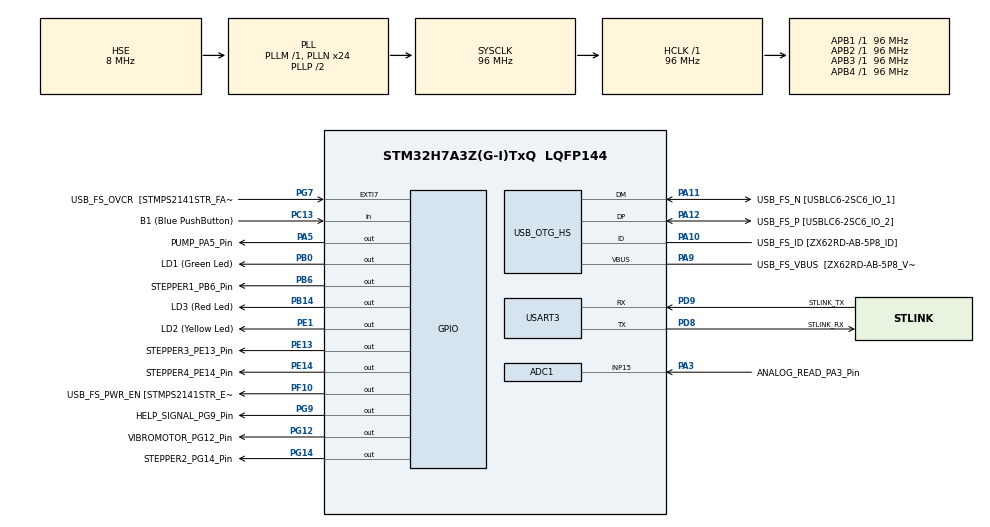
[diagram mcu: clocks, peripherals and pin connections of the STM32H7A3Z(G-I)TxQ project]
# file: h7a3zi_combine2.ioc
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ADC1.Channel-0\#ChannelRegularConversion=ADC_CHANNEL_15
ADC1.NbrOfConversionFlag=1
ADC1.OffsetNumber-0\#ChannelRegularConversion=ADC_OFFSET_NONE
ADC1.OffsetSignedSaturation-0\#ChannelRegularConversion=DISABLE
ADC1.Rank-0\#ChannelRegularConversion=1
ADC1.SamplingTime-0\#ChannelRegularConversion=ADC_SAMPLETIME_1CYCLE_5
ADC1.master=1
Mcu.Family=STM32H7
Mcu.Name=STM32H7A3Z(G-I)TxQ
Mcu.Package=LQFP144
NVIC.PriorityGroup=NVIC_PRIORITYGROUP_4
NVIC.TIM17_IRQn=true\:0\:0\:false\:false\:true\:true\:true\:true
PA0.Signal=ADC1_INP16
PA10.GPIO_Label=USB_FS_ID [ZX62RD-AB-5P8_ID]
PA10.Mode=OTG/Dual-Role-Device-FS
PA10.Signal=USB_OTG_HS_ID
PA11.GPIO_Label=USB_FS_N [USBLC6-2SC6_IO_1]
PA11.Mode=OTG/Dual-Role-Device-FS
PA11.Signal=USB_OTG_HS_DM
PA12.GPIO_Label=USB_FS_P [USBLC6-2SC6_IO_2]
PA12.Mode=OTG/Dual-Role-Device-FS
PA12.Signal=USB_OTG_HS_DP
PA3.GPIO_Label=ANALOG_READ_PA3_Pin
PA3.Mode=IN15-Single-Ended
PA3.Signal=ADC1_INP15
PA5.GPIO_Label=PUMP_PA5_Pin
PA5.Signal=GPIO_Output
PA9.GPIO_Label=USB_FS_VBUS  [ZX62RD-AB-5P8_VBUS]
PA9.Mode=Activate_VBUS_FS
PA9.Signal=USB_OTG_HS_VBUS
PB0.GPIO_Label=LD1 (Green Led)
PB0.Signal=GPIO_Output
PB14.GPIO_Label=LD3 (Red Led)
PB14.Signal=GPIO_Output
PB6.GPIO_Label=STEPPER1_PB6_Pin
PB6.Signal=GPIO_Output
PC13.GPIO_Label=B1 (Blue PushButton)
PC13.Signal=GPIO_Input
PC14-OSC32_IN.GPIO_Label=OSC32_IN
PC14-OSC32_IN.Mode=LSE-External-Oscillator
PC14-OSC32_IN.Signal=RCC_OSC32_IN
PC15-OSC32_OUT.GPIO_Label=OSC32_OUT
PC15-OSC32_OUT.Mode=LSE-External-Oscillator
PC15-OSC32_OUT.Signal=RCC_OSC32_OUT
PD8.GPIO_Label=STLINK_RX
PD8.Mode=Asynchronous
PD8.Signal=USART3_TX
PD9.GPIO_Label=STLINK_TX
PD9.Mode=Asynchronous
PD9.Signal=USART3_RX
PE1.GPIO_Label=LD2 (Yellow Led)
PE1.Signal=GPIO_Output
PE13.GPIO_Label=STEPPER3_PE13_Pin
PE13.Signal=GPIO_Output
PE14.GPIO_Label=STEPPER4_PE14_Pin
PE14.Signal=GPIO_Output
PF10.GPIO_Label=USB_FS_PWR_EN [STMPS2141STR_EN]
PF10.Signal=GPIO_Output
PG12.GPIO_Label=VIBROMOTOR_PG12_Pin
PG12.Signal=GPIO_Output
PG14.GPIO_Label=STEPPER2_PG14_Pin
PG14.Signal=GPIO_Output
PG7.GPIO_Label=USB_FS_OVCR  [STMPS2141STR_FAULT]
PG7.Signal=GPXTI7
PG9.GPIO_Label=HELP_SIGNAL_PG9_Pin
PG9.Signal=GPIO_Output
PH0-OSC_IN.GPIO_Label=PH0-MCU
PH0-OSC_IN.Mode=HSE-External-Clock-Source
PH0-OSC_IN.Signal=RCC_OSC_IN
PH1-OSC_OUT.GPIO_Label=PH1-MCU
PH1-OSC_OUT.Signal=RCC_OSC_OUT
ProjectManager.HeapSize=0x200
ProjectManager.StackSize=0x400
ProjectManager.TargetToolchain=STM32CubeIDE
RCC.ADCFreq_Value=32000000
RCC.APB1Freq_Value=96000000
RCC.APB2Freq_Value=96000000
RCC.APB3Freq_Value=96000000
RCC.APB4Freq_Value=96000000
RCC.CortexFreq_Value=96000000
RCC.DIVM1=1
RCC.DIVM2=1
RCC.DIVM3=1
RCC.DIVN1=24
RCC.DIVN2=16
RCC.DIVN3=24
RCC.DIVP2=4
RCC.DIVQ1=4
RCC.HCLKFreq_Value=96000000
RCC.HSE_VALUE=8000000
RCC.PLLFRACN=0
RCC.PLLSourceVirtual=RCC_PLLSOURCE_HSE
RCC.PWR_Regulator_Voltage_Scale=PWR_REGULATOR_VOLTAGE_SCALE0
RCC.SYSCLKFreq_VALUE=96000000
RCC.SYSCLKSource=RCC_SYSCLKSOURCE_PLLCLK
RCC.SupplySource=PWR_DIRECT_SMPS_SUPPLY
RCC.USBCLockSelection=RCC_USBCLKSOURCE_HSI48
RCC.USBFreq_Value=48000000
TIM16.Period=20000-1
TIM16.Prescaler=9600-1
USART3.VirtualMode-Asynchronous=VM_ASYNC
VP_TIM16_VS_ClockSourceINT.Mode=Enable_Timer
VP_TIM17_VS_ClockSourceINT.Mode=Enable_Timer
board=NUCLEO-H7A3ZI-Q

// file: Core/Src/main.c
/* USER CODE BEGIN Header */
/**
 ******************************************************************************
 * @file           : main.c
 * @brief          : Main program body
 ******************************************************************************
 * @attention
 *
 * Copyright (c) 2022 STMicroelectronics.
 * All rights reserved.
 *
 * This software is licensed under terms that can be found in the LICENSE file
 * in the root directory of this software component.
 * If no LICENSE file comes with this software, it is provided AS-IS.
 *
 ******************************************************************************
 */
/* USER CODE END Header */
#include "main.h"

/* USER CODE BEGIN Includes */
#include "../../ECUAL/STEPPER/STEPPER.h"
#include <stdbool.h>
#include <stdio.h>
#include <string.h>
/* USER CODE END Includes */

/* USER CODE BEGIN PTD */
struct MeasureData {
  uint16_t signal[100000];
  int t_vibr_start;
  int t_end;
  int pulses;
  int htime;
  bool bad;
} Meas;
/* USER CODE END PTD */

/* USER CODE BEGIN PD */
#define STEPPER_MOTOR1 0
/* USER CODE END PD */

ADC_HandleTypeDef hadc1;

TIM_HandleTypeDef htim16;
TIM_HandleTypeDef htim17;

UART_HandleTypeDef huart3;

/* USER CODE BEGIN PV */
const int PI = 1048;
const int SENSITIVITY = 5;
// 50 char buffer to store our message
char uart_buf[50];
int uart_buf_len;

/* USER CODE END PV */

void SystemClock_Config(void);
static void MX_GPIO_Init(void);
static void MX_USART3_UART_Init(void);
static void MX_USB_OTG_HS_USB_Init(void);
static void MX_ADC1_Init(void);
static void MX_TIM16_Init(void);
static void MX_TIM17_Init(void);
/* USER CODE BEGIN PFP */
void measure(struct MeasureData *);
void analyse(struct MeasureData *);
void uart_transmit_analog(void);
void uart_transmit_digital(void);
void uart_transmit_info(void);

/* USER CODE END PFP */

int main(void)
{

  /* MCU Configuration--------------------------------------------------------*/

  /* Reset of all peripherals, Initializes the Flash interface and the Systick. */
  HAL_Init();

  /* USER CODE BEGIN Init */
  // HAL_GPIO_WritePin(GPIOG, GPIO_PIN_9, GPIO_PIN_RESET);

  /* USER CODE END Init */

  /* Configure the system clock */
  SystemClock_Config();

  /* Initialize all configured peripherals */
  MX_GPIO_Init();
  MX_USART3_UART_Init();
  MX_USB_OTG_HS_USB_Init();
  MX_ADC1_Init();
  MX_TIM16_Init();
  MX_TIM17_Init();
  /* USER CODE BEGIN 2 */

  /* __STEPPER CONTROL BLOCK BEGIN__ */

  /* see also STEPPER_cfg.h */
  //  STEPPERS_Init_TMR(&htim17);
  // nötig für init look also ISR CODE BEGIN 4
  //  STEPPER_SetSpeed(STEPPER_MOTOR1, 12);
  // set RPM STEPPER_Step_NonBlocking(STEPPER_MOTOR1, 1048, DIR_CCW);
  // drive motor, steps, direction(immer verkehrt k.a. warum)

  /* __STEPPER CONTROL BLOCK END__ */

  /* test area */
  //  don't forget to init timer16 for counting 1 sec and timer17 with ISR for
  //  Stepper

  /////////////////START/////////////////////////

  // stepper init
  // STEPPERS_Init_TMR(&htim17); // nötig für init look also ISR CODE BEGIN 4
  // STEPPER_SetSpeed(STEPPER_MOTOR1, 14); // set RPM

  // pump on
  // HAL_GPIO_WritePin(GPIOA, GPIO_PIN_5, GPIO_PIN_SET);
  // HAL_Delay(3000);
  //
  // HAL_GPIO_WritePin(GPIOG, GPIO_PIN_12, GPIO_PIN_SET);
  // HAL_Delay(100);
  // HAL_GPIO_WritePin(GPIOG, GPIO_PIN_12, GPIO_PIN_RESET);

  for (int m = 0; m < 10; m++) {
  // pump on
    HAL_GPIO_WritePin(GPIOA, GPIO_PIN_5, GPIO_PIN_SET);
    HAL_Delay(4000);
    uart_buf_len = sprintf(uart_buf, "Number %d \r\n", m+1);
    HAL_UART_Transmit(&huart3, (uint8_t *)uart_buf, uart_buf_len, 100);
    measure(&Meas);
  // pump on
    HAL_GPIO_WritePin(GPIOA, GPIO_PIN_5, GPIO_PIN_RESET);
    uart_transmit_analog();
    analyse(&Meas);
    // uart_transmit_digital();
    uart_transmit_info();
  }

  // HAL_GPIO_WritePin(GPIOA, GPIO_PIN_5, GPIO_PIN_RESET);

  // if (Meas.bad == false && Meas.pulses >= SENSITIVITY) {
  //   // rotate 180
  //   STEPPER_Step_NonBlocking(STEPPER_MOTOR1, PI, DIR_CW);
  //   HAL_Delay(1500);
  //   measure(&Meas);
  //   analyse(&Meas);
  //   uart_transmit_info();

  //   if (Meas.bad == false && Meas.pulses >= SENSITIVITY) {
  //     // rotate -45° and reset pump
  //     STEPPER_Step_NonBlocking(STEPPER_MOTOR1, PI / 4, DIR_CCW);
  //     HAL_Delay(1500);
  //     HAL_GPIO_WritePin(GPIOA, GPIO_PIN_5, GPIO_PIN_RESET);
  //     HAL_Delay(1000);
  //     // rotate to 0°
  //     STEPPER_Step_NonBlocking(STEPPER_MOTOR1, PI * 3 / 4, DIR_CCW);
  //   } else {
  //     // rotate +45° and reset pump
  //     STEPPER_Step_NonBlocking(STEPPER_MOTOR1, PI / 4, DIR_CW);
  //     HAL_Delay(1500);
  //     HAL_GPIO_WritePin(GPIOA, GPIO_PIN_5, GPIO_PIN_RESET);
  //     HAL_Delay(1000);
  //     // rotate to 0°
  //     STEPPER_Step_NonBlocking(STEPPER_MOTOR1, PI * 3 / 4, DIR_CW);
  //   }
  // } else {
  //   // rotate 180°
  //   STEPPER_Step_NonBlocking(STEPPER_MOTOR1, PI, DIR_CW);
  //   HAL_Delay(1500);
  //   // rotate +45° and reset pump
  //   STEPPER_Step_NonBlocking(STEPPER_MOTOR1, PI / 4, DIR_CW);
  //   HAL_Delay(1500);
  //   HAL_GPIO_WritePin(GPIOA, GPIO_PIN_5, GPIO_PIN_RESET);
  //   HAL_Delay(1000);
  //   // rotate to 0°
  //   STEPPER_Step_NonBlocking(STEPPER_MOTOR1, PI * 3 / 4, DIR_CW);
  // }

  /* USER CODE END 2 */

  /* Infinite loop */
  while (1) {

  }
}

void SystemClock_Config(void)
{
  RCC_OscInitTypeDef RCC_OscInitStruct = {0};
  RCC_ClkInitTypeDef RCC_ClkInitStruct = {0};

  /*AXI clock gating */
  RCC->CKGAENR = 0xFFFFFFFF;

  /** Supply configuration update enable
  */
  HAL_PWREx_ConfigSupply(PWR_DIRECT_SMPS_SUPPLY);

  /** Configure the main internal regulator output voltage
  */
  __HAL_PWR_VOLTAGESCALING_CONFIG(PWR_REGULATOR_VOLTAGE_SCALE0);

  while(!__HAL_PWR_GET_FLAG(PWR_FLAG_VOSRDY)) {}

  /** Macro to configure the PLL clock source
  */
  __HAL_RCC_PLL_PLLSOURCE_CONFIG(RCC_PLLSOURCE_HSE);

  /** Initializes the RCC Oscillators according to the specified parameters
  * in the RCC_OscInitTypeDef structure.
  */
  RCC_OscInitStruct.OscillatorType = RCC_OSCILLATORTYPE_HSI48|RCC_OSCILLATORTYPE_HSE;
  RCC_OscInitStruct.HSEState = RCC_HSE_BYPASS;
  RCC_OscInitStruct.HSI48State = RCC_HSI48_ON;
  RCC_OscInitStruct.PLL.PLLState = RCC_PLL_ON;
  RCC_OscInitStruct.PLL.PLLSource = RCC_PLLSOURCE_HSE;
  RCC_OscInitStruct.PLL.PLLM = 1;
  RCC_OscInitStruct.PLL.PLLN = 24;
  RCC_OscInitStruct.PLL.PLLP = 2;
  RCC_OscInitStruct.PLL.PLLQ = 4;
  RCC_OscInitStruct.PLL.PLLR = 2;
  RCC_OscInitStruct.PLL.PLLRGE = RCC_PLL1VCIRANGE_3;
  RCC_OscInitStruct.PLL.PLLVCOSEL = RCC_PLL1VCOWIDE;
  RCC_OscInitStruct.PLL.PLLFRACN = 0;
  if (HAL_RCC_OscConfig(&RCC_OscInitStruct) != HAL_OK)
  {
    Error_Handler();
  }

  /** Initializes the CPU, AHB and APB buses clocks
  */
  RCC_ClkInitStruct.ClockType = RCC_CLOCKTYPE_HCLK|RCC_CLOCKTYPE_SYSCLK
                              |RCC_CLOCKTYPE_PCLK1|RCC_CLOCKTYPE_PCLK2
                              |RCC_CLOCKTYPE_D3PCLK1|RCC_CLOCKTYPE_D1PCLK1;
  RCC_ClkInitStruct.SYSCLKSource = RCC_SYSCLKSOURCE_PLLCLK;
  RCC_ClkInitStruct.SYSCLKDivider = RCC_SYSCLK_DIV1;
  RCC_ClkInitStruct.AHBCLKDivider = RCC_HCLK_DIV1;
  RCC_ClkInitStruct.APB3CLKDivider = RCC_APB3_DIV1;
  RCC_ClkInitStruct.APB1CLKDivider = RCC_APB1_DIV1;
  RCC_ClkInitStruct.APB2CLKDivider = RCC_APB2_DIV1;
  RCC_ClkInitStruct.APB4CLKDivider = RCC_APB4_DIV1;

  if (HAL_RCC_ClockConfig(&RCC_ClkInitStruct, FLASH_LATENCY_2) != HAL_OK)
  {
    Error_Handler();
  }
}

static void MX_ADC1_Init(void)
{

  ADC_MultiModeTypeDef multimode = {0};
  ADC_ChannelConfTypeDef sConfig = {0};

  /** Common config
  */
  hadc1.Instance = ADC1;
  hadc1.Init.ClockPrescaler = ADC_CLOCK_ASYNC_DIV1;
  hadc1.Init.Resolution = ADC_RESOLUTION_16B;
  hadc1.Init.ScanConvMode = ADC_SCAN_DISABLE;
  hadc1.Init.EOCSelection = ADC_EOC_SINGLE_CONV;
  hadc1.Init.LowPowerAutoWait = DISABLE;
  hadc1.Init.ContinuousConvMode = DISABLE;
  hadc1.Init.NbrOfConversion = 1;
  hadc1.Init.DiscontinuousConvMode = DISABLE;
  hadc1.Init.ExternalTrigConv = ADC_SOFTWARE_START;
  hadc1.Init.ExternalTrigConvEdge = ADC_EXTERNALTRIGCONVEDGE_NONE;
  hadc1.Init.ConversionDataManagement = ADC_CONVERSIONDATA_DR;
  hadc1.Init.Overrun = ADC_OVR_DATA_PRESERVED;
  hadc1.Init.LeftBitShift = ADC_LEFTBITSHIFT_NONE;
  hadc1.Init.OversamplingMode = DISABLE;
  if (HAL_ADC_Init(&hadc1) != HAL_OK)
  {
    Error_Handler();
  }

  /** Configure the ADC multi-mode
  */
  multimode.Mode = ADC_MODE_INDEPENDENT;
  if (HAL_ADCEx_MultiModeConfigChannel(&hadc1, &multimode) != HAL_OK)
  {
    Error_Handler();
  }

  /** Configure Regular Channel
  */
  sConfig.Channel = ADC_CHANNEL_15;
  sConfig.Rank = ADC_REGULAR_RANK_1;
  sConfig.SamplingTime = ADC_SAMPLETIME_1CYCLE_5;
  sConfig.SingleDiff = ADC_SINGLE_ENDED;
  sConfig.OffsetNumber = ADC_OFFSET_NONE;
  sConfig.Offset = 0;
  sConfig.OffsetSignedSaturation = DISABLE;
  if (HAL_ADC_ConfigChannel(&hadc1, &sConfig) != HAL_OK)
  {
    Error_Handler();
  }

}

static void MX_TIM16_Init(void)
{

  htim16.Instance = TIM16;
  htim16.Init.Prescaler = 9600-1;
  htim16.Init.CounterMode = TIM_COUNTERMODE_UP;
  htim16.Init.Period = 20000-1;
  htim16.Init.ClockDivision = TIM_CLOCKDIVISION_DIV1;
  htim16.Init.RepetitionCounter = 0;
  htim16.Init.AutoReloadPreload = TIM_AUTORELOAD_PRELOAD_DISABLE;
  if (HAL_TIM_Base_Init(&htim16) != HAL_OK)
  {
    Error_Handler();
  }

}

static void MX_TIM17_Init(void)
{

  htim17.Instance = TIM17;
  htim17.Init.Prescaler = 0;
  htim17.Init.CounterMode = TIM_COUNTERMODE_UP;
  htim17.Init.Period = 65535;
  htim17.Init.ClockDivision = TIM_CLOCKDIVISION_DIV1;
  htim17.Init.RepetitionCounter = 0;
  htim17.Init.AutoReloadPreload = TIM_AUTORELOAD_PRELOAD_DISABLE;
  if (HAL_TIM_Base_Init(&htim17) != HAL_OK)
  {
    Error_Handler();
  }

}

static void MX_USART3_UART_Init(void)
{

  huart3.Instance = USART3;
  huart3.Init.BaudRate = 115200;
  huart3.Init.WordLength = UART_WORDLENGTH_8B;
  huart3.Init.StopBits = UART_STOPBITS_1;
  huart3.Init.Parity = UART_PARITY_NONE;
  huart3.Init.Mode = UART_MODE_TX_RX;
  huart3.Init.HwFlowCtl = UART_HWCONTROL_NONE;
  huart3.Init.OverSampling = UART_OVERSAMPLING_16;
  huart3.Init.OneBitSampling = UART_ONE_BIT_SAMPLE_DISABLE;
  huart3.Init.ClockPrescaler = UART_PRESCALER_DIV1;
  huart3.AdvancedInit.AdvFeatureInit = UART_ADVFEATURE_NO_INIT;
  if (HAL_UART_Init(&huart3) != HAL_OK)
  {
    Error_Handler();
  }
  if (HAL_UARTEx_SetTxFifoThreshold(&huart3, UART_TXFIFO_THRESHOLD_1_8) != HAL_OK)
  {
    Error_Handler();
  }
  if (HAL_UARTEx_SetRxFifoThreshold(&huart3, UART_RXFIFO_THRESHOLD_1_8) != HAL_OK)
  {
    Error_Handler();
  }
  if (HAL_UARTEx_DisableFifoMode(&huart3) != HAL_OK)
  {
    Error_Handler();
  }

}

static void MX_USB_OTG_HS_USB_Init(void)
{

}

static void MX_GPIO_Init(void)
{
  GPIO_InitTypeDef GPIO_InitStruct = {0};

  /* GPIO Ports Clock Enable */
  __HAL_RCC_GPIOC_CLK_ENABLE();
  __HAL_RCC_GPIOF_CLK_ENABLE();
  __HAL_RCC_GPIOH_CLK_ENABLE();
  __HAL_RCC_GPIOA_CLK_ENABLE();
  __HAL_RCC_GPIOB_CLK_ENABLE();
  __HAL_RCC_GPIOE_CLK_ENABLE();
  __HAL_RCC_GPIOD_CLK_ENABLE();
  __HAL_RCC_GPIOG_CLK_ENABLE();

  /*Configure GPIO pin Output Level */
  HAL_GPIO_WritePin(USB_FS_PWR_EN_GPIO_Port, USB_FS_PWR_EN_Pin, GPIO_PIN_RESET);

  /*Configure GPIO pin Output Level */
  HAL_GPIO_WritePin(PUMP_PA5_Pin_GPIO_Port, PUMP_PA5_Pin_Pin, GPIO_PIN_RESET);

  /*Configure GPIO pin Output Level */
  HAL_GPIO_WritePin(GPIOB, LD1_Pin|LD3_Pin|STEPPER1_PB6_Pin_Pin, GPIO_PIN_RESET);

  /*Configure GPIO pin Output Level */
  HAL_GPIO_WritePin(GPIOE, STEPPER3_PE13_Pin_Pin|STEPPER4_PE14_Pin_Pin|LD2_Pin, GPIO_PIN_RESET);

  /*Configure GPIO pin Output Level */
  HAL_GPIO_WritePin(GPIOG, HELP_SIGNAL_PG9_Pin_Pin|VIBROMOTOR_PG12_Pin_Pin|STEPPER2_PG14_Pin_Pin, GPIO_PIN_RESET);

  /*Configure GPIO pin : B1_Pin */
  GPIO_InitStruct.Pin = B1_Pin;
  GPIO_InitStruct.Mode = GPIO_MODE_INPUT;
  GPIO_InitStruct.Pull = GPIO_NOPULL;
  HAL_GPIO_Init(B1_GPIO_Port, &GPIO_InitStruct);

  /*Configure GPIO pin : USB_FS_PWR_EN_Pin */
  GPIO_InitStruct.Pin = USB_FS_PWR_EN_Pin;
  GPIO_InitStruct.Mode = GPIO_MODE_OUTPUT_PP;
  GPIO_InitStruct.Pull = GPIO_NOPULL;
  GPIO_InitStruct.Speed = GPIO_SPEED_FREQ_LOW;
  HAL_GPIO_Init(USB_FS_PWR_EN_GPIO_Port, &GPIO_InitStruct);

  /*Configure GPIO pin : PUMP_PA5_Pin_Pin */
  GPIO_InitStruct.Pin = PUMP_PA5_Pin_Pin;
  GPIO_InitStruct.Mode = GPIO_MODE_OUTPUT_PP;
  GPIO_InitStruct.Pull = GPIO_NOPULL;
  GPIO_InitStruct.Speed = GPIO_SPEED_FREQ_LOW;
  HAL_GPIO_Init(PUMP_PA5_Pin_GPIO_Port, &GPIO_InitStruct);

  /*Configure GPIO pins : LD1_Pin LD3_Pin STEPPER1_PB6_Pin_Pin */
  GPIO_InitStruct.Pin = LD1_Pin|LD3_Pin|STEPPER1_PB6_Pin_Pin;
  GPIO_InitStruct.Mode = GPIO_MODE_OUTPUT_PP;
  GPIO_InitStruct.Pull = GPIO_NOPULL;
  GPIO_InitStruct.Speed = GPIO_SPEED_FREQ_LOW;
  HAL_GPIO_Init(GPIOB, &GPIO_InitStruct);

  /*Configure GPIO pins : STEPPER3_PE13_Pin_Pin STEPPER4_PE14_Pin_Pin LD2_Pin */
  GPIO_InitStruct.Pin = STEPPER3_PE13_Pin_Pin|STEPPER4_PE14_Pin_Pin|LD2_Pin;
  GPIO_InitStruct.Mode = GPIO_MODE_OUTPUT_PP;
  GPIO_InitStruct.Pull = GPIO_NOPULL;
  GPIO_InitStruct.Speed = GPIO_SPEED_FREQ_LOW;
  HAL_GPIO_Init(GPIOE, &GPIO_InitStruct);

  /*Configure GPIO pin : USB_FS_OVCR_Pin */
  GPIO_InitStruct.Pin = USB_FS_OVCR_Pin;
  GPIO_InitStruct.Mode = GPIO_MODE_IT_RISING;
  GPIO_InitStruct.Pull = GPIO_NOPULL;
  HAL_GPIO_Init(USB_FS_OVCR_GPIO_Port, &GPIO_InitStruct);

  /*Configure GPIO pin : USB_FS_VBUS_Pin */
  GPIO_InitStruct.Pin = USB_FS_VBUS_Pin;
  GPIO_InitStruct.Mode = GPIO_MODE_INPUT;
  GPIO_InitStruct.Pull = GPIO_NOPULL;
  HAL_GPIO_Init(USB_FS_VBUS_GPIO_Port, &GPIO_InitStruct);

  /*Configure GPIO pin : USB_FS_ID_Pin */
  GPIO_InitStruct.Pin = USB_FS_ID_Pin;
  GPIO_InitStruct.Mode = GPIO_MODE_AF_PP;
  GPIO_InitStruct.Pull = GPIO_NOPULL;
  GPIO_InitStruct.Speed = GPIO_SPEED_FREQ_LOW;
  GPIO_InitStruct.Alternate = GPIO_AF10_OTG1_HS;
  HAL_GPIO_Init(USB_FS_ID_GPIO_Port, &GPIO_InitStruct);

  /*Configure GPIO pins : USB_FS_N_Pin USB_FS_P_Pin */
  GPIO_InitStruct.Pin = USB_FS_N_Pin|USB_FS_P_Pin;
  GPIO_InitStruct.Mode = GPIO_MODE_AF_PP;
  GPIO_InitStruct.Pull = GPIO_NOPULL;
  GPIO_InitStruct.Speed = GPIO_SPEED_FREQ_LOW;
  HAL_GPIO_Init(GPIOA, &GPIO_InitStruct);

  /*Configure GPIO pins : HELP_SIGNAL_PG9_Pin_Pin VIBROMOTOR_PG12_Pin_Pin STEPPER2_PG14_Pin_Pin */
  GPIO_InitStruct.Pin = HELP_SIGNAL_PG9_Pin_Pin|VIBROMOTOR_PG12_Pin_Pin|STEPPER2_PG14_Pin_Pin;
  GPIO_InitStruct.Mode = GPIO_MODE_OUTPUT_PP;
  GPIO_InitStruct.Pull = GPIO_NOPULL;
  GPIO_InitStruct.Speed = GPIO_SPEED_FREQ_LOW;
  HAL_GPIO_Init(GPIOG, &GPIO_InitStruct);

}

/* USER CODE BEGIN 4 */
// calling an ISR for STEPPER
void HAL_TIM_PeriodElapsedCallback(TIM_HandleTypeDef *htim) {
  STEPPER_TMR_OVF_ISR(htim);
}

void measure(struct MeasureData *s) {
  const int ONESEC = 10000 - 1;
  // store our counter value
  int tim_val_ms = 0; // tick is 0.1 ms

  bool is_vibrating = false;
  // store our 16bit ADC reading
  uint16_t raw;
  // starting timer 16
  HAL_TIM_Base_Start(&htim16);
  // set help signal (yellow led)
  HAL_GPIO_WritePin(GPIOG, GPIO_PIN_9, GPIO_PIN_SET);

  for (int i = 0; tim_val_ms < ONESEC; i++) {

    if (!is_vibrating && tim_val_ms >= ONESEC * 0.2 &&
        tim_val_ms < ONESEC * 0.3) {
      HAL_GPIO_WritePin(GPIOG, GPIO_PIN_12, GPIO_PIN_SET); // vibrator ON
      // saving time of begin vibration
      s->t_vibr_start = i;
      is_vibrating = true;
    } else if (is_vibrating && tim_val_ms >= ONESEC * 0.3) {
      HAL_GPIO_WritePin(GPIOG, GPIO_PIN_12, GPIO_PIN_RESET); // vibrator OFF
      is_vibrating = false;
    }

    // ADC routine
    HAL_ADC_Start(&hadc1);
    HAL_ADC_PollForConversion(&hadc1, HAL_MAX_DELAY);
    raw = HAL_ADC_GetValue(&hadc1);
    // needed to save the last iterator i
    s->t_end = i;
    // remember the last element of array will be 0, the counter will be
    // increased but array not filled
    s->signal[i] = raw;
    tim_val_ms = __HAL_TIM_GET_COUNTER(&htim16);
  }
  // stoping and reseting timer 16
  HAL_TIM_Base_Stop_IT(&htim16);
  __HAL_TIM_SET_COUNTER(&htim16, 0);
  s->pulses = 0;
  s->htime = 0;
  // reset help signal (yellow led)
  HAL_GPIO_WritePin(GPIOG, GPIO_PIN_9, GPIO_PIN_RESET);
}

void analyse(struct MeasureData *s) {
  // digitalize signal v:[0,1]
  const int TRIGGER = 39718;
  const int SCALE = 1000;

  for (int i = 0; i < s->t_end; i++) {
    if (s->signal[i] < TRIGGER) { // aprox. 2V TODO change it to 1V
      s->signal[i] = 0;
    } else {
      s->signal[i] = 1;
    }
  }
  // count pulses
  for (int i = 0; i < s->t_end; i++) {
    int edge = s->signal[i + 1] - s->signal[i];
    if (edge == 1) { // count only negative pulses
      s->pulses++;
    }
    if (s->signal[i] == 1) {
      s->htime++;
    }
  }
  // check if sensor has been open before vibration
  s->bad = false;
  for (int i = 0; i <= s->t_vibr_start; i++) {
    if (s->signal[i] == 0) {
      s->bad = true;
      break;
    }
  }
  // check if sensor has been open after vibration + Einschwingungszeit
  for (int i = (int)(s->t_end * 0.75); i < s->t_end; i++) {
    if (s->signal[i] == 0) {
      s->bad = true;
      break;
    }
  }
  // check if sensor is not kurzgeschlossen all time
  if (s->pulses == 0) {
    s->bad = true;
  }
  // resolve the variables to human readable values
  s->htime = s->htime * SCALE / s->t_end;
  s->t_vibr_start = s->t_vibr_start * SCALE / s->t_end;
}

void uart_transmit_analog(void) {
  /* Transmit an array with ANALOG data via uart */
  for (int j = 0; j < Meas.t_end; j++) {
    uart_buf_len = sprintf(uart_buf, "%d, %u \r\n", j, Meas.signal[j]);
    HAL_UART_Transmit(&huart3, (uint8_t *)uart_buf, uart_buf_len, 100);
  }
}
void uart_transmit_digital(void) {
  /* Transmit an array with DIGITAL data via uart */
  uart_buf_len = sprintf(uart_buf, "Digital \n");
  HAL_UART_Transmit(&huart3, (uint8_t *)uart_buf, uart_buf_len, 100);
  for (int j = 0; j < Meas.t_end; j++) {
    uart_buf_len = sprintf(uart_buf, "%d, %u \r\n", j, Meas.signal[j]);
    HAL_UART_Transmit(&huart3, (uint8_t *)uart_buf, uart_buf_len, 100);
  }
}
void uart_transmit_info(void) {
  /* Transmit extra measurement data via uart */
  uart_buf_len = sprintf(uart_buf, "Measurements  \n");
  HAL_UART_Transmit(&huart3, (uint8_t *)uart_buf, uart_buf_len, 100);
  uart_buf_len = sprintf(uart_buf, "htime = %d ms; pulses = %d;   \r\n",
                         Meas.htime, Meas.pulses);
  HAL_UART_Transmit(&huart3, (uint8_t *)uart_buf, uart_buf_len, 100);
  uart_buf_len = sprintf(uart_buf, "bad state = %d; vibr = %d ms \r\n",
                         Meas.bad, Meas.t_vibr_start);
  HAL_UART_Transmit(&huart3, (uint8_t *)uart_buf, uart_buf_len, 100);
}

/* USER CODE END 4 */

void Error_Handler(void)
{
  /* USER CODE BEGIN Error_Handler_Debug */
  /* User can add his own implementation to report the HAL error return state
   */
  __disable_irq();
  while (1) {
  }
  /* USER CODE END Error_Handler_Debug */
}

#ifdef  USE_FULL_ASSERT
/**
  * @brief  Reports the name of the source file and the source line number
  *         where the assert_param error has occurred.
  * @param  file: pointer to the source file name
  * @param  line: assert_param error line source number
  * @retval None
  */
void assert_failed(uint8_t *file, uint32_t line)
{
  /* USER CODE BEGIN 6 */
  /* User can add his own implementation to report the file name and line
     number, ex: printf("Wrong parameters value: file %s on line %d\r\n",
     file, line) */
  /* USER CODE END 6 */
}
#endif /* USE_FULL_ASSERT */
